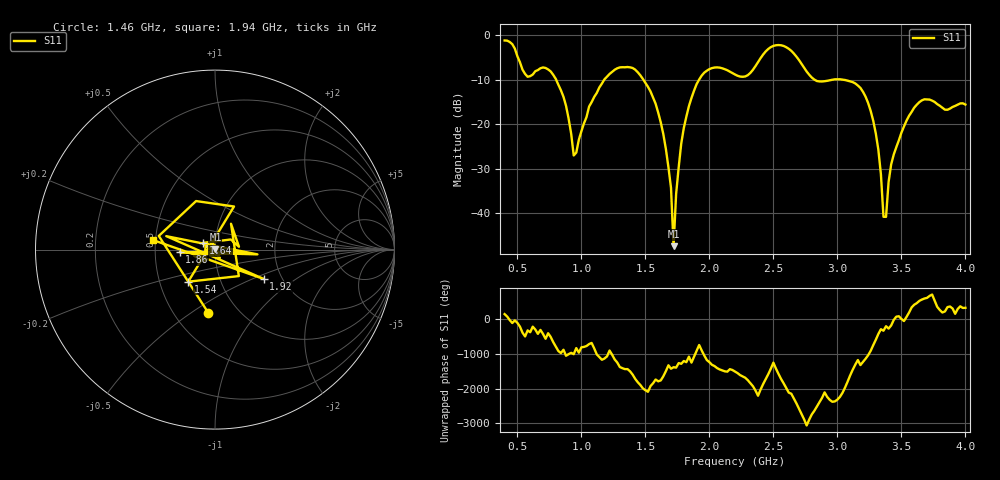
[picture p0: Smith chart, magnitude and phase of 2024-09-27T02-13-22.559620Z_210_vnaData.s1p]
!Created with skrf (http://scikit-rf.org).
# Hz S RI R 50.0
!freq ReS11 ImS11
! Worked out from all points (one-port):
!   181 points, 400 MHz to 4 GHz, reference 50 ohm
!   lowest |S11| = -47.4 dB at 1.72 GHz (marker M1), VSWR 1.01, Z = 50.3 + j0.336 ohm
!   |S11| at or under -10 dB: 802.4 MHz to 1.179 GHz (376.2 MHz wide, 38 % of centre); 1.484 GHz to 1.919 GHz (435.9 MHz wide, 25.6 % of centre); 3.042 GHz to end of sweep (the widest 3 of 4)
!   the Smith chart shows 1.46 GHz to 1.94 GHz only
!   S11 on the Smith chart (normalised r, x): 1.46 GHz: 0.73, -0.59; 1.54 GHz: 0.70, -0.26; 1.64 GHz: 0.87, +0.07; 1.86 GHz: 0.67, -0.02; 1.92 GHz: 1.61, -0.59; 1.94 GHz: 0.48, +0.06
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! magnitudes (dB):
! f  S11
! 400 MHz  -1.2
! 580 MHz  -9.4
! 720 MHz  -7.4
! 860 MHz  -13.9
! 940 MHz  -27.0
! 1.06 GHz  -16.0
! 1.3 GHz  -7.2
! 1.46 GHz  -9.0
! 1.54 GHz  -12.7
! 1.64 GHz  -22.2
! 1.7 GHz  -34.3
! 1.72 GHz  -47.4
! 1.76 GHz  -29.7
! 1.86 GHz  -14.1
! 1.92 GHz  -10.0
! 1.94 GHz  -9.1
! 2.2 GHz  -8.8
! 2.5 GHz  -2.4
! 2.66 GHz  -4.1
! 2.84 GHz  -10.3
! 3.1 GHz  -10.4
! 3.28 GHz  -19.2
! 3.32 GHz  -25.8
! 3.36 GHz  -40.8
! 3.38 GHz  -40.8
! 3.42 GHz  -29.1
! 3.56 GHz  -18.1
! 4 GHz  -15.6
